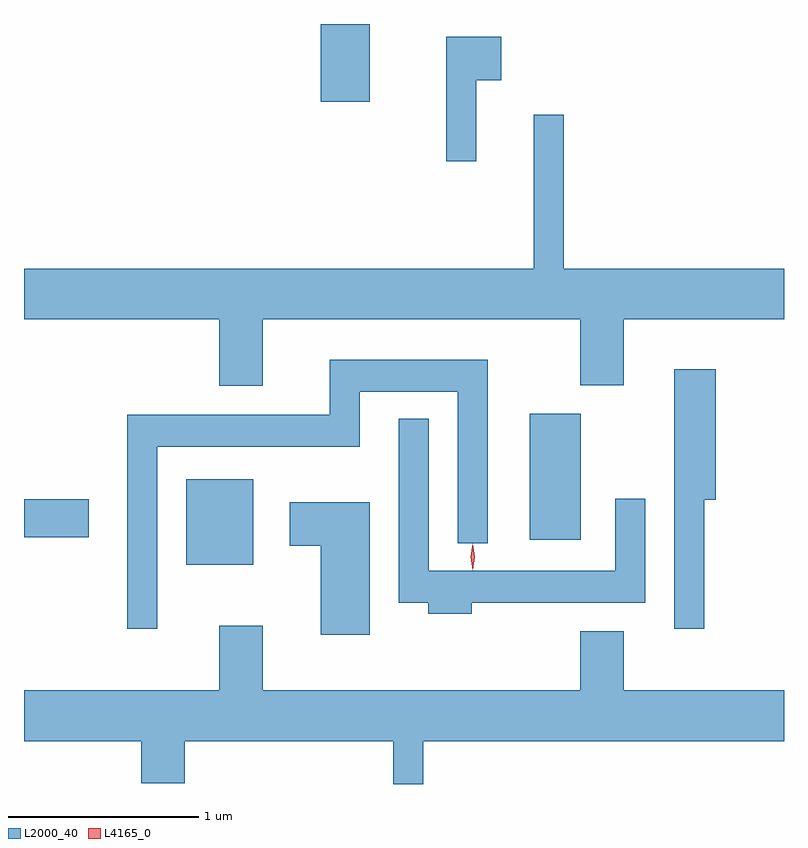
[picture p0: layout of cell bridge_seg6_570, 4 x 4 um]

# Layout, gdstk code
import gdstk
lib = gdstk.Library(unit=1e-6, precision=1e-09)
def R(c, l, rs):  # rectangles x0, y0, x1, y1
    for r in rs: c.add(gdstk.rectangle(r[:2], r[2:], *l))
def P(c, l, *ps):  # polygons
    for p in ps: c.add(gdstk.Polygon(p, *l))
L2000_40 = (2000, 40)
L4165_0 = (4165, 0)

bridge_seg6_570 = lib.new_cell('bridge_seg6_570')
R(bridge_seg6_570, L2000_40, [(403.626,1606.466,403.979,1606.914), (405.436,1606.596,405.704,1607.259), (402.773,1606.611,403.114,1606.809), (404.336,1608.901,404.594,1609.311)])
P(bridge_seg6_570, L2000_40, [(405.154,1609.016),(405.284,1609.016),(405.284,1609.244),(404.996,1609.244),(404.996,1608.588),(405.154,1608.588)],
  [(404.029,1607.756),(405.701,1607.756),(405.701,1607.411),(405.929,1607.411),(405.929,1607.756),(406.773,1607.756),(406.773,1608.024),(405.614,1608.024),(405.614,1608.833),(405.456,1608.833),(405.456,1608.024),(402.773,1608.024),(402.773,1607.756),(403.801,1607.756),(403.801,1607.406),(404.029,1607.406)],
  [(403.474,1607.086),(404.539,1607.086),(404.539,1607.376),(405.056,1607.376),(405.056,1606.578),(405.214,1606.578),(405.214,1607.544),(404.381,1607.544),(404.381,1607.254),(403.316,1607.254),(403.316,1606.128),(403.474,1606.128)],
  [(406.354,1606.806),(406.414,1606.806),(406.414,1607.494),(406.196,1607.494),(406.196,1606.128),(406.354,1606.128)],
  [(405.129,1606.266),(406.044,1606.266),(406.044,1606.813),(405.886,1606.813),(405.886,1606.434),(404.904,1606.434),(404.904,1607.233),(404.746,1607.233),(404.746,1606.266),(404.901,1606.266),(404.901,1606.206),(405.129,1606.206)],
  [(404.594,1606.794),(404.171,1606.794),(404.171,1606.566),(404.336,1606.566),(404.336,1606.096),(404.594,1606.096)],
  [(402.773,1605.536),(403.391,1605.536),(403.391,1605.316),(403.619,1605.316),(403.619,1605.536),(404.716,1605.536),(404.716,1605.311),(404.874,1605.311),(404.874,1605.536),(406.773,1605.536),(406.773,1605.804),(405.929,1605.804),(405.929,1606.114),(405.701,1606.114),(405.701,1605.804),(404.029,1605.804),(404.029,1606.144),(403.801,1606.144),(403.801,1605.804),(402.773,1605.804)])
P(bridge_seg6_570, L4165_0, [(405.135,1606.437),(405.125,1606.507),(405.135,1606.576),(405.136,1606.576),(405.136,1606.576),(405.146,1606.507),(405.136,1606.437),(405.136,1606.437)],
  [(405.135,1606.439),(405.135,1606.44),(405.125,1606.506),(405.135,1606.572),(405.135,1606.573),(405.136,1606.572),(405.145,1606.506),(405.136,1606.44)])

lib.write_gds('bridge_seg6_570.gds')
